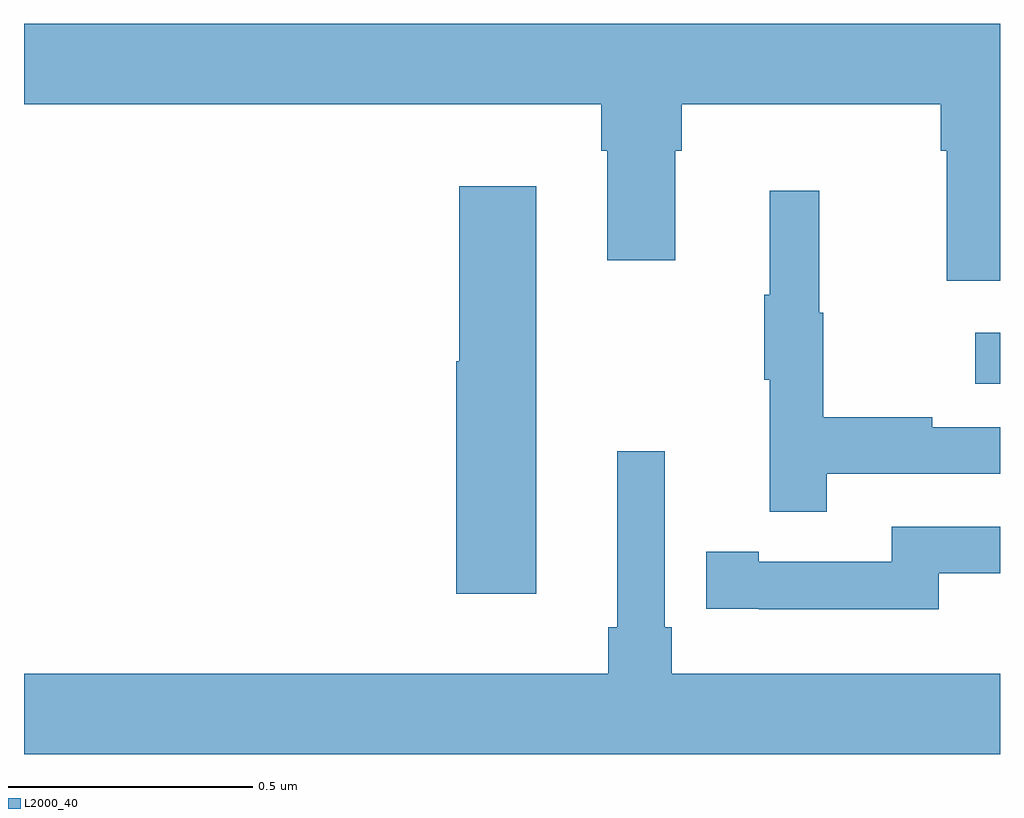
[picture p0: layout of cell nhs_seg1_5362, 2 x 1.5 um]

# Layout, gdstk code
import gdstk
lib = gdstk.Library(unit=1e-6, precision=1e-09)
def R(c, l, rs):  # rectangles x0, y0, x1, y1
    for r in rs: c.add(gdstk.rectangle(r[:2], r[2:], *l))
def P(c, l, *ps):  # polygons
    for p in ps: c.add(gdstk.Polygon(p, *l))
L2000_40 = (2000, 40)

nhs_seg1_5362 = lib.new_cell('nhs_seg1_5362')
R(nhs_seg1_5362, L2000_40, [(179.949,515.195,180,515.299)])
P(nhs_seg1_5362, L2000_40, [(180,515.932),(178,515.932),(178,515.768),(179.183,515.768),(179.183,515.672),(179.195,515.672),(179.195,515.448),(179.335,515.448),(179.335,515.672),(179.348,515.672),(179.348,515.768),(179.879,515.768),(179.879,515.672),(179.891,515.672),(179.891,515.406),(180,515.406)],
  [(179.05,515.599),(178.892,515.599),(178.892,515.241),(178.886,515.241),(178.886,514.764),(179.05,514.764)],
  [(179.645,515.01),(180,515.01),(180,515.106),(179.861,515.106),(179.861,515.126),(179.638,515.126),(179.638,515.34),(179.63,515.34),(179.63,515.59),(179.528,515.59),(179.528,515.377),(179.517,515.377),(179.517,515.203),(179.528,515.203),(179.528,514.932),(179.645,514.932)],
  [(180,514.6),(179.327,514.6),(179.327,514.696),(179.313,514.696),(179.313,515.056),(179.216,515.056),(179.216,514.696),(179.197,514.696),(179.197,514.6),(178,514.6),(178,514.436),(180,514.436)],
  [(179.874,514.806),(180,514.806),(180,514.902),(179.778,514.902),(179.778,514.83),(179.506,514.83),(179.506,514.85),(179.398,514.85),(179.398,514.734),(179.506,514.734),(179.506,514.733),(179.874,514.733)])

lib.write_gds('nhs_seg1_5362.gds')
